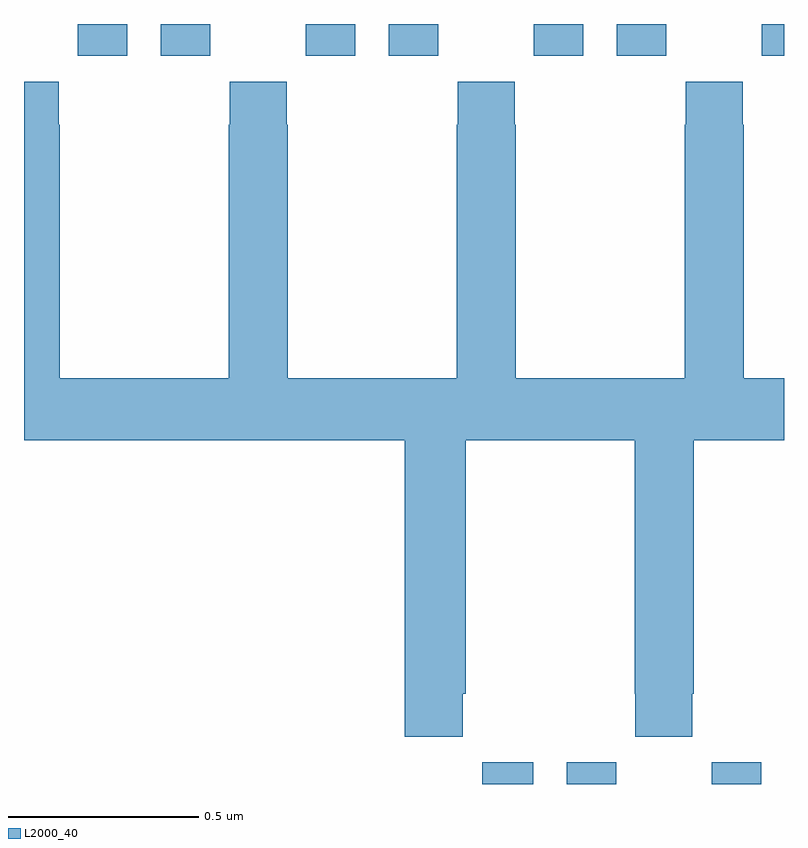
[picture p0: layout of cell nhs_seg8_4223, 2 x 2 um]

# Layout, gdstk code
import gdstk
lib = gdstk.Library(unit=1e-6, precision=1e-09)
def R(c, l, rs):  # rectangles x0, y0, x1, y1
    for r in rs: c.add(gdstk.rectangle(r[:2], r[2:], *l))
def P(c, l, *ps):  # polygons
    for p in ps: c.add(gdstk.Polygon(p, *l))
L2000_40 = (2000, 40)

nhs_seg8_4223 = lib.new_cell('nhs_seg8_4223')
R(nhs_seg8_4223, L2000_40, [(168.206,1144.9,168.34,1144.957), (168.428,1144.9,168.558,1144.957), (168.81,1144.9,168.94,1144.957), (167.142,1146.816,167.272,1146.9), (167.36,1146.816,167.49,1146.9), (167.742,1146.816,167.872,1146.9), (167.96,1146.816,168.09,1146.9), (168.342,1146.816,168.472,1146.9), (168.56,1146.816,168.69,1146.9), (168.942,1146.816,169,1146.9)])
P(nhs_seg8_4223, L2000_40, [(168.155,1145.137),(168.162,1145.137),(168.162,1145.804),(168.607,1145.804),(168.607,1145.137),(168.609,1145.137),(168.609,1145.025),(168.759,1145.025),(168.759,1145.137),(168.762,1145.137),(168.762,1145.804),(169,1145.804),(169,1145.968),(168.894,1145.968),(168.894,1146.635),(168.891,1146.635),(168.891,1146.748),(168.741,1146.748),(168.741,1146.635),(168.739,1146.635),(168.739,1145.968),(168.294,1145.968),(168.294,1146.635),(168.291,1146.635),(168.291,1146.748),(168.141,1146.748),(168.141,1146.635),(168.139,1146.635),(168.139,1145.968),(167.694,1145.968),(167.694,1146.635),(167.691,1146.635),(167.691,1146.748),(167.541,1146.748),(167.541,1146.635),(167.539,1146.635),(167.539,1145.968),(167.094,1145.968),(167.094,1146.635),(167.091,1146.635),(167.091,1146.748),(167,1146.748),(167,1145.804),(168.002,1145.804),(168.002,1145.025),(168.155,1145.025)])

lib.write_gds('nhs_seg8_4223.gds')
